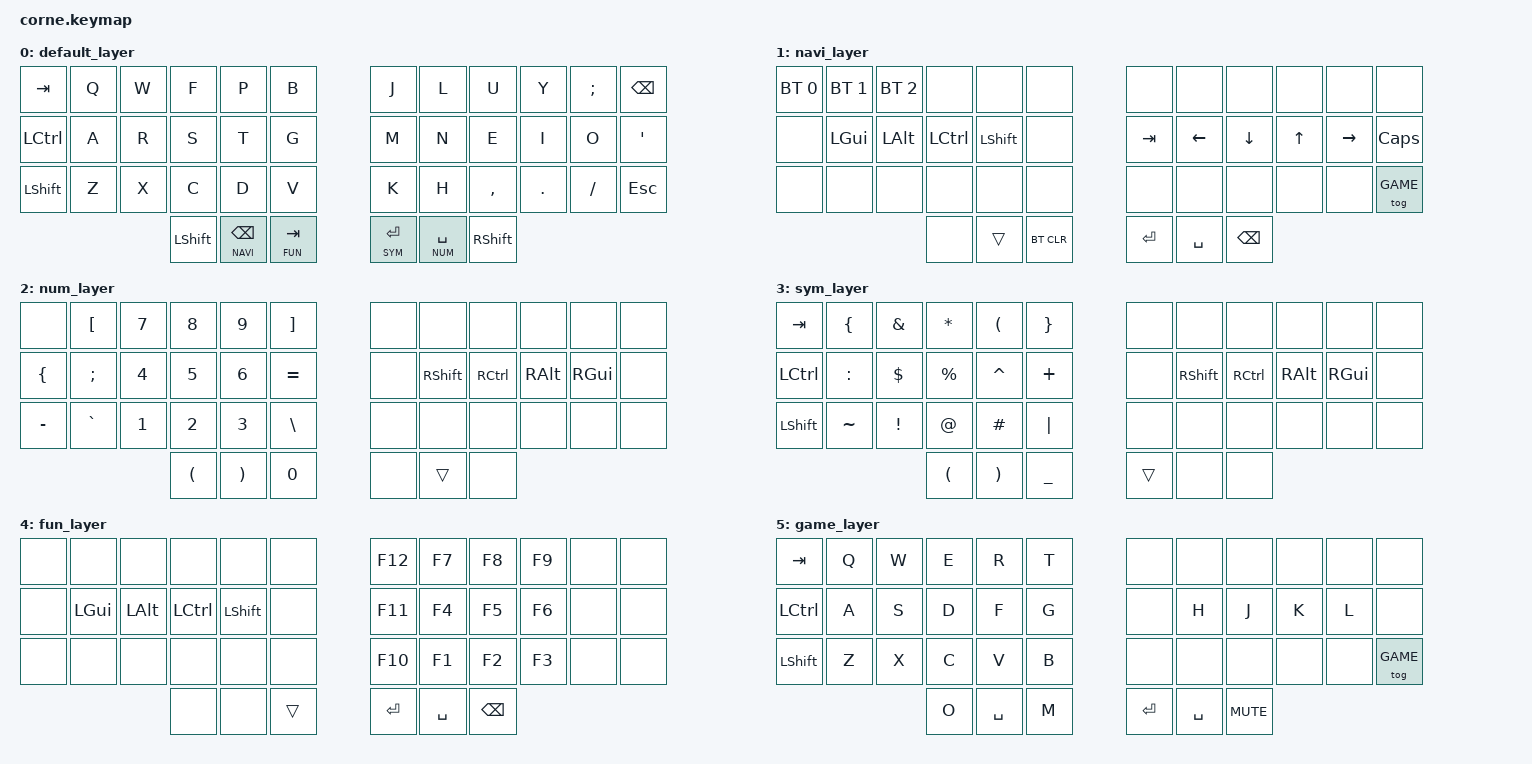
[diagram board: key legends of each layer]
/*
 * Copyright (c) 2020 The ZMK Contributors
 *
 * SPDX-License-Identifier: MIT
 */

#include <behaviors.dtsi>
#include <dt-bindings/zmk/keys.h>
#include <dt-bindings/zmk/bt.h>

#define DEFAULT 0
#define NAVI 1
#define NUM 2
#define SYM 3
#define FUN 4
#define GAME 5

/ {
        keymap {
                compatible = "zmk,keymap";

                default_layer {
// -----------------------------------------------------------------------------------------
// |  TAB |  Q  |  W  |  F  |  P  |  B  |   |  J  |  L   |  U  |  Y  |  ;  | BKSP |
// | CTRL |  A  |  R  |  S  |  T  |  G  |   |  M  |  N   |  E  |  I  |  O  |  '   |
// | SHFT |  Z  |  X  |  C  |  D  |  V  |   |  K  |  H   |  ,  |  .  |  /  | ESC  |
//                    |SHFT |BSPC | TAB |   | ENT | SPC  |SHFT |
                        bindings = <
   &kp TAB   &kp Q &kp W &kp F &kp P &kp B   &kp J &kp L  &kp U     &kp Y   &kp SEMI  &kp BSPC
   &kp LCTRL &kp A &kp R &kp S &kp T &kp G   &kp M &kp N  &kp E     &kp I   &kp O     &kp SQT 
   &kp LSHFT &kp Z &kp X &kp C &kp D &kp V   &kp K &kp H  &kp COMMA &kp DOT &kp FSLH &kp ESC
   &kp LSHFT &lt NAVI BSPC &lt FUN TAB      &lt SYM RET  &lt NUM SPACE &kp RSHFT
                        >;
                };

                navi_layer {
// -----------------------------------------------------------------------------------------
// | BTNXT|     |     |  S  |     |  L  |   |     |     |     |     |     |      |
// |      | LGUI| LALT|LCTRL|LSHFT|     |   | TAB | LFT | DWN |  UP | RGT | CAPS |      
// |      |     |     |     |     |     |   |     |     |     |     |     | GAME |
//                    |     |     |     |   | ENT | SPC |BSPC |
                        bindings = <
   &bt BT_SEL 0 &bt BT_SEL 1 &bt BT_SEL 2 &none        &none        &none          &none    &none    &none    &none     &none     &none
   &none        &kp LGUI     &kp LALT     &kp LCTRL    &kp LSHFT    &none          &kp TAB  &kp LEFT &kp DOWN &kp UP    &kp RIGHT &kp CAPS 
   &none        &none        &none        &none        &none        &none          &none    &none    &none    &none      &none    &tog GAME
                          	          &none        &trans       &bt BT_CLR     &kp RET  &kp SPACE  &kp BSPC
                        >;
                };

                num_layer {
// -----------------------------------------------------------------------------------------
// |     |   [  |  7  |  8  |  9  |  ]  |   |     |     |     |     |     |      |
// |  {  |   ;  |  4  |  5  |  6  |  =  |   |     |RSHFT|RCTRL|RALT | RGUI|      |      
// |  -  |   `  |  1  |  2  |  3  |  \  |   |     |     |     |     |     |      |
//                    |  (  |  )  |  0  |   |     |     |     |
                        bindings = <
   &none     &kp LBKT  &kp N7 &kp N8   &kp N9   &kp RBKT    &none     &none     &none     &none     &none     &none
   &kp LBRC  &kp SEMI  &kp N4 &kp N5   &kp N6   &kp EQUAL   &none     &kp RSHFT &kp RCTRL &kp RALT  &kp RGUI  &none
   &kp MINUS &kp GRAVE &kp N1 &kp N2   &kp N3   &kp BSLH    &none     &none     &none     &none     &none     &none
                    	      &kp LPAR &kp RPAR   &kp N0   &none     &trans    &none
                        >;
                };

                sym_layer {
// -----------------------------------------------------------------------------------------
// | TAB  |  {  |  &  |  *  |  (  |  }  |   |     |     |     |     |     |      |
// | CTRL |  :  |  $  |  %  |  ^  |  +  |   |     |RSHFT|RCTRL|RALT | RGUI|      |
// | SHFT |  ~  |  !  |  @  |  #  |  |  |   |     |     |     |     |     |      |
//                    |  (  |  )  |  _  |   |     |     |     |
                        bindings = <
   &kp TAB   &kp LBRC  &kp AMPS &kp STAR  &kp LPAR   &kp RBRC   &none     &none     &none     &none     &none     &none
   &kp LCTRL &kp COLON &kp DLLR &kp PRCNT &kp CARET  &kp PLUS   &none     &kp RSHFT &kp RCTRL &kp RALT  &kp RGUI  &none
   &kp LSHFT &kp TILDE &kp EXCL &kp AT    &kp HASH   &kp PIPE   &none     &none     &none     &none     &none     &none
                    	        &kp LPAR  &kp RPAR      &kp UNDER  &trans    &none     &none
                        >;
                };

                fun_layer {
// -----------------------------------------------------------------------------------------
// |      |     |     |     |     |     |   | F12 | F7  | F8  |  F9 |     |      |
// |      | LGUI| LALT|LCTRL|LSHFT|     |   | F11 | F4  | F5  |  F6 |     |      |      
// |      |     |     |     |     |     |   | F10 | F1  | F2  |  F3 |     |      |
//                    |     |     |     |   | ENT | SPC |BSPC |
                        bindings = <
   &none      &none        &none        &none        &none        &none          &kp F12    &kp F7    &kp F8    &kp F9     &none     &none
   &none      &kp LGUI     &kp LALT     &kp LCTRL    &kp LSHFT    &none          &kp F11    &kp F4    &kp F5    &kp F6     &none     &none
   &none      &none        &none        &none        &none        &none          &kp F10    &kp F1    &kp F2    &kp F3     &none     &none
                          	        &none        &none        &trans         &kp RET  &kp SPACE  &kp BSPC
                        >;
                };

                game_layer {
// -----------------------------------------------------------------------------------------
// |  TAB |  Q  |  W  |  E  |  R  |  T  |   |     |      |     |     |     |      |
// | CTRL |  A  |  S  |  D  |  F  |  G  |   |     |   H  |  J  |  K  |  L  |      |
// | SHFT |  Z  |  X  |  C  |  V  |  B  |   |     |      |     |     |     |  TG3 |
//                    |  O  | SPC |  M  |   | ENT | SPC  | MUTE|
                        bindings = <
   &kp TAB   &kp Q &kp W &kp E &kp R &kp T   &none &none  &none     &none   &none  &none
   &kp LCTRL &kp A &kp S &kp D &kp F &kp G   &none &kp H  &kp J     &kp K   &kp L  &none
   &kp LSHFT &kp Z &kp X &kp C &kp V &kp B   &none &none  &none     &none   &none  &tog GAME
                       &kp O &kp SPACE &kp M   &kp RET  &kp SPACE &kp C_MUTE
                        >;
                };
        };
};
